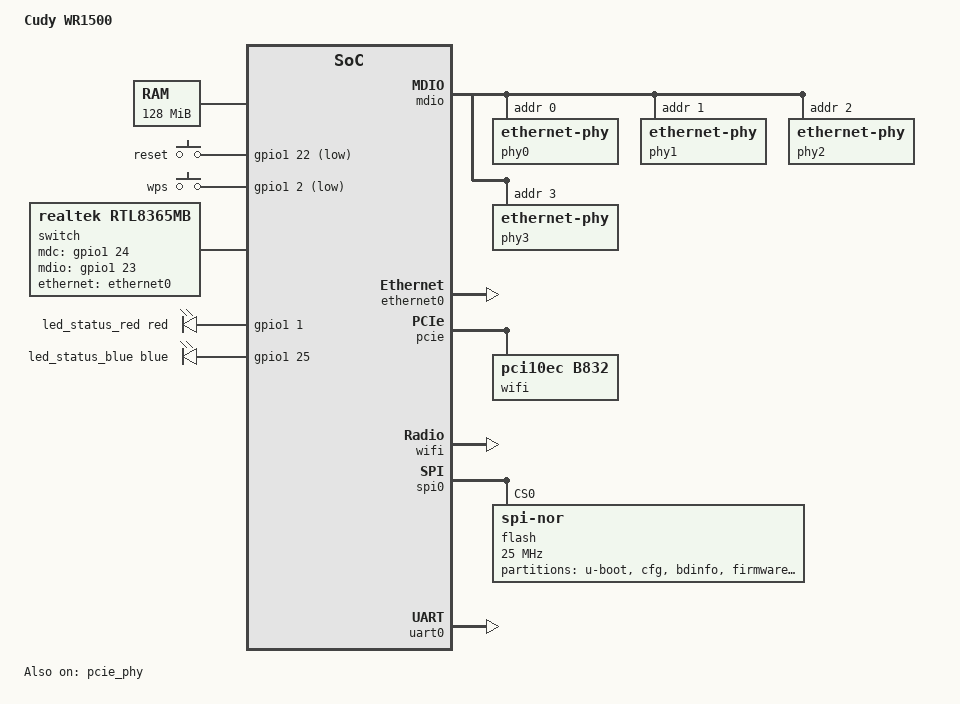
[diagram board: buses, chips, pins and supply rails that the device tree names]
// SPDX-License-Identifier: GPL-2.0-or-later OR MIT

#include "rtl8197f.dtsi"

#include <dt-bindings/gpio/gpio.h>
#include <dt-bindings/input/input.h>
#include <dt-bindings/leds/common.h>

/ {
	compatible = "cudy,wr1500", "realtek,rtl8197f-soc";
	model = "Cudy WR1500";

	aliases {
		label-mac-device = &ethernet0;
		led-boot = &led_status_red;
		led-failsafe = &led_status_red;
		led-running = &led_status_blue;
		led-upgrade = &led_status_red;
	};

	chosen {
		bootargs = "console=ttyS0,38400";
	};

	memory@0 {
		device_type = "memory";
		reg = <0x0 0x8000000>;
	};

	keys {
		compatible = "gpio-keys";
		pinctrl-names = "default";
		pinctrl-0 = <&pinmux_gpio_e2>;

		reset {
			label = "reset";
			gpios = <&gpio1 22 GPIO_ACTIVE_LOW>;
			linux,code = <KEY_RESTART>;
		};

		wps {
			label = "wps";
			gpios = <&gpio1 2 GPIO_ACTIVE_LOW>;
			linux,code = <KEY_WPS_BUTTON>;
		};
	};

	/*
	 * RTL8367RB-VC switch managed via SMI on GPIO 56 (H0, clock) and GPIO 55
	 * (G7, data). Its CPU port 7 (RGMII) connects to port 0 of the SoC switch
	 * core, which handles the 4 byte CPU tag in hardware.
	 */
	switch {
		compatible = "realtek,rtl8365mb";
		pinctrl-names = "default";
		pinctrl-0 = <&pinmux_smi>;
		mdc-gpios = <&gpio1 24 GPIO_ACTIVE_HIGH>;
		mdio-gpios = <&gpio1 23 GPIO_ACTIVE_HIGH>;
		realtek,short-cpu-tag;

		mdio {
			#address-cells = <1>;
			#size-cells = <0>;

			phy0: ethernet-phy@0 {
				reg = <0>;
			};

			phy1: ethernet-phy@1 {
				reg = <1>;
			};

			phy2: ethernet-phy@2 {
				reg = <2>;
			};

			phy3: ethernet-phy@3 {
				reg = <3>;
			};
		};

		ports {
			#address-cells = <1>;
			#size-cells = <0>;

			port@0 {
				reg = <0>;
				label = "lan2";
				phy-handle = <&phy0>;
			};

			port@1 {
				reg = <1>;
				label = "lan3";
				phy-handle = <&phy1>;
			};

			port@2 {
				reg = <2>;
				label = "wan";
				phy-handle = <&phy2>;
			};

			port@3 {
				reg = <3>;
				label = "lan1";
				phy-handle = <&phy3>;
			};

			port@7 {
				reg = <7>;
				ethernet = <&ethernet0>;
				phy-mode = "rgmii";
				rx-internal-delay-ps = <600>;
				tx-internal-delay-ps = <0>;

				fixed-link {
					speed = <1000>;
					full-duplex;
					pause;
				};
			};
		};
	};

	leds {
		compatible = "gpio-leds";

		led_status_red: led-0 {
			color = <LED_COLOR_ID_RED>;
			function = LED_FUNCTION_STATUS;
			gpios = <&gpio1 1 GPIO_ACTIVE_HIGH>;
		};

		led_status_blue: led-1 {
			color = <LED_COLOR_ID_BLUE>;
			function = LED_FUNCTION_STATUS;
			gpios = <&gpio1 25 GPIO_ACTIVE_HIGH>;
		};
	};
};

&ethernet0 {
	nvmem-cells = <&macaddr_cfg_7 0>;
	nvmem-cell-names = "mac-address";
	realtek,cpu-tag;

	status = "okay";
};

&pcie {
	status = "okay";

	/* RTL8832BR 5 GHz radio, calibrated from the cfg partition */
	wifi@1,0 {
		compatible = "pci10ec,b832";
		reg = <0x0800 0 0 0 0>;
		nvmem-cells = <&macaddr_cfg_7 2>, <&cal_cfg_14>, <&cal_cfg_16>,
			      <&cal_cfg_f4>, <&cal_cfg_1b8>;
		nvmem-cell-names = "mac-address", "efuse-2b9", "efuse-2d0",
				   "efuse-222", "efuse-24c";
		ieee80211-freq-limit = <5000000 5900000>;
	};
};

&pcie_phy {
	status = "okay";
};

&wifi {
	nvmem-cells = <&macaddr_cfg_7 3>;
	nvmem-cell-names = "mac-address";

	status = "okay";
};

&pinmux {
	/* PIN_MUX_SEL17[27:24]: E2 (WPS button) as GPIO */
	pinmux_gpio_e2: gpio-e2 {
		pinctrl-single,bits = <0x44 0x01000000 0x0f000000>;
	};

	/* PIN_MUX_SEL13[27:24,23:20]: G7 and H0 as GPIO for the switch SMI */
	pinmux_smi: smi {
		pinctrl-single,bits = <0x34 0x03300000 0x0ff00000>;
	};
};

&spi0 {
	status = "okay";

	flash@0 {
		compatible = "jedec,spi-nor";
		reg = <0>;
		spi-max-frequency = <25000000>;

		partitions {
			compatible = "fixed-partitions";
			#address-cells = <1>;
			#size-cells = <1>;

			partition@0 {
				label = "u-boot";
				reg = <0x0 0x20000>;
				read-only;
			};

			/* Realtek hardware settings: MACs and Wi-Fi calibration */
			partition@20000 {
				label = "cfg";
				reg = <0x20000 0x10000>;
				read-only;

				nvmem-layout {
					compatible = "fixed-layout";
					#address-cells = <1>;
					#size-cells = <1>;

					macaddr_cfg_7: macaddr@7 {
						compatible = "mac-base";
						reg = <0x7 0x6>;
						#nvmem-cell-cells = <1>;
					};

					/* 5 GHz crystal cap and thermal A/B */
					cal_cfg_14: calibration@14 {
						reg = <0x14 0x1>;
					};

					cal_cfg_16: calibration@16 {
						reg = <0x16 0x2>;
					};

					/* 5 GHz BW40 1SS TSSI, path A and B */
					cal_cfg_f4: calibration@f4 {
						reg = <0xf4 0xe>;
					};

					cal_cfg_1b8: calibration@1b8 {
						reg = <0x1b8 0xe>;
					};
				};
			};

			partition@30000 {
				label = "bdinfo";
				reg = <0x30000 0x10000>;
				read-only;
			};

			partition@40000 {
				compatible = "denx,uimage";
				label = "firmware";
				reg = <0x40000 0xfa0000>;
			};

			/* JFFS2 used by the stock firmware, holds "default" */
			partition@fe0000 {
				label = "reserved";
				reg = <0xfe0000 0x10000>;
				read-only;
			};

			partition@ff0000 {
				label = "backup";
				reg = <0xff0000 0x10000>;
				read-only;
			};
		};
	};
};

&uart0 {
	status = "okay";
};
